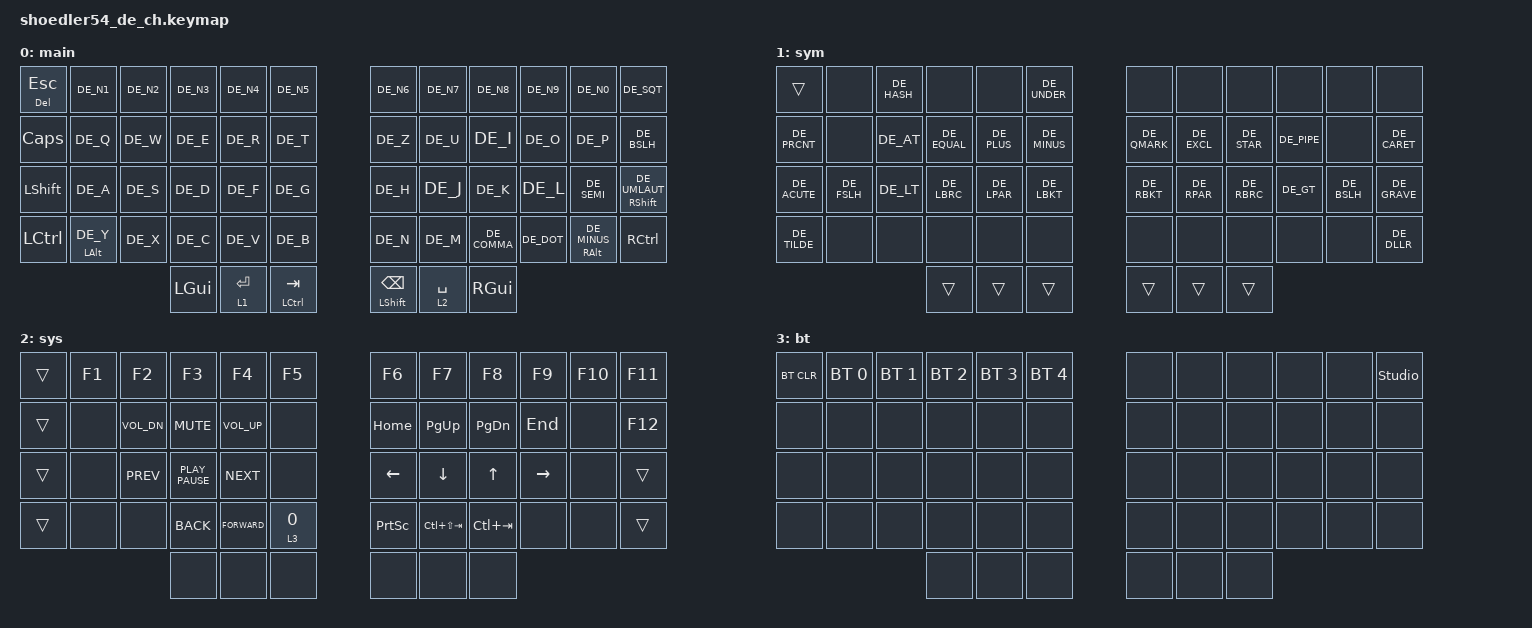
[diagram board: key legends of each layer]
#include <behaviors.dtsi>
#include <dt-bindings/zmk/keys.h>
#include <dt-bindings/zmk/bt.h>
#include "keys_de_swiss.h"

&lt { tapping-term-ms = <200>; };
&mt { tapping-term-ms = <200>; };

/ {
        behaviors {

        mttp: mttp { // Mod tap, tap-preferred
            compatible = "zmk,behavior-hold-tap";
            label = "MTTP";
            flavor = "tap-preferred";
            tapping-term-ms = <150>;
            bindings = <&kp>, <&kp>;
            #binding-cells = <2>;
            display-name = "Mod-Tap (Tap pref)";
        };

        // Mod-tap with tap-preferred behavior and quick-tap settings that enable repeat
        mt_repeat: mt_repeat {
            compatible = "zmk,behavior-hold-tap";
            #binding-cells = <2>;
            flavor = "tap-preferred";
            tapping-term-ms = <200>;
            quick-tap-ms = <200>;
            require-prior-idle-ms = <100>;
            hold-trigger-on-release;
            hold-trigger-key-positions = <1 2 3 6 7 8 31 0 9>;
            bindings = <&kp>, <&kp>;
        };

        // Layer-tap with tap-preferred behavior and quick-tap settings that enable repeat
        lt_repeat: lt_repeat {
            compatible = "zmk,behavior-hold-tap";
            #binding-cells = <2>;
            flavor = "tap-preferred";
            tapping-term-ms = <200>;
            quick-tap-ms = <200>;
            require-prior-idle-ms = <100>;
            bindings = <&mo>, <&kp>;
        };
    };

    keymap {
        compatible = "zmk,keymap";

        main {
            bindings = <
&mt DEL ESC  &kp DE_N1      &kp DE_N2  &kp DE_N3  &kp DE_N4  &kp DE_N5             &kp DE_N6         &kp DE_N7    &kp DE_N8     &kp DE_N9   &kp DE_N0           &kp DE_SQT
&kp CAPS     &kp DE_Q       &kp DE_W   &kp DE_E   &kp DE_R   &kp DE_T              &kp DE_Z          &kp DE_U     &kp DE_I      &kp DE_O    &kp DE_P            &kp DE_BSLH
&kp LSHIFT   &kp DE_A       &kp DE_S   &kp DE_D   &kp DE_F   &kp DE_G              &kp DE_H          &kp DE_J     &kp DE_K      &kp DE_L    &kp DE_SEMI         &mttp RSHIFT DE_UMLAUT
&kp LCTRL    &mt_repeat LALT DE_Y  &kp DE_X   &kp DE_C   &kp DE_V   &kp DE_B              &kp DE_N          &kp DE_M     &kp DE_COMMA  &kp DE_DOT  &mt_repeat RALT DE_MINUS   &kp RCTRL
                                       &kp LGUI   &lt_repeat 1 RET  &mt LCTRL TAB         &mt_repeat LSHIFT BSPC  &lt_repeat 2 SPACE  &kp RGUI
            >;
        };

        sym {
            bindings = <
&trans        &none        &kp DE_HASH      &none        &none        &kp DE_UNDER      &none         &none         &none         &none         &none        &none
&kp DE_PRCNT  &none        &kp DE_AT        &kp DE_EQUAL &kp DE_PLUS  &kp DE_MINUS      &kp DE_QMARK  &kp DE_EXCL   &kp DE_STAR   &kp DE_PIPE   &none        &kp DE_CARET
&kp DE_ACUTE  &kp DE_FSLH  &kp DE_LT        &kp DE_LBRC  &kp DE_LPAR  &kp DE_LBKT       &kp DE_RBKT   &kp DE_RPAR   &kp DE_RBRC   &kp DE_GT     &kp DE_BSLH  &kp DE_GRAVE
&kp DE_TILDE  &none        &none            &none        &none        &none             &none         &none         &none         &none         &none        &kp DE_DLLR
                                        &trans       &trans       &trans            &trans        &trans        &trans
            >;
        };

        sys {
            bindings = <
&trans  &kp F1  &kp F2        &kp F3            &kp F4           &kp F5       &kp F6           &kp F7           &kp F8       &kp F9     &kp F10  &kp F11
&trans  &none   &kp C_VOL_DN  &kp K_MUTE        &kp C_VOLUME_UP  &none        &kp HOME         &kp PG_UP        &kp PG_DN    &kp END    &none    &kp F12
&trans  &none   &kp K_PREV    &kp K_PLAY_PAUSE  &kp K_NEXT       &none        &kp LEFT         &kp DOWN         &kp UP       &kp RIGHT  &none    &trans
&trans  &none   &none         &kp K_BACK        &kp K_FORWARD    &lt 3 0      &kp PRINTSCREEN  &kp LC(LS(TAB))  &kp LC(TAB)  &none      &none    &trans
                              &none             &none            &none        &none            &none            &none
            >;
        };

        bt {
            bindings = <
&bt BT_CLR  &bt BT_SEL 0  &bt BT_SEL 1  &bt BT_SEL 2  &bt BT_SEL 3  &bt BT_SEL 4       &none  &none  &none  &none  &none  &studio_unlock
&none       &none         &none         &none         &none         &none              &none  &none  &none  &none  &none  &none
&none       &none         &none         &none         &none         &none              &none  &none  &none  &none  &none  &none
&none       &none         &none         &none         &none         &none              &none  &none  &none  &none  &none  &none
                                        &none         &none         &none              &none  &none  &none
            >;
        };


        extra1 { status = "reserved"; };

        extra2 { status = "reserved"; };
    };
};
